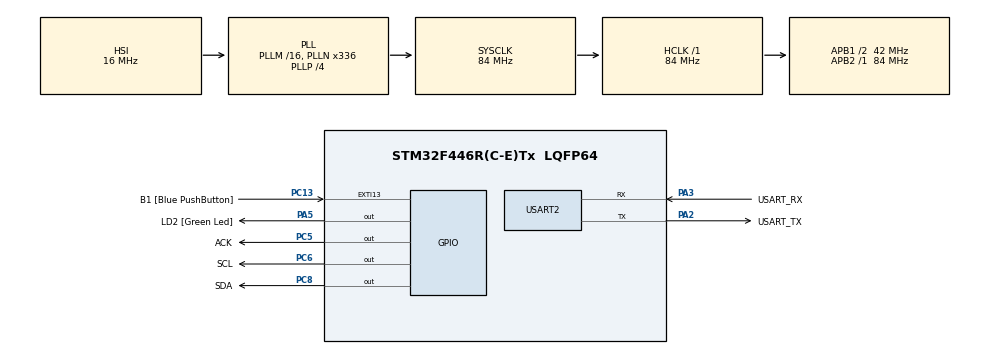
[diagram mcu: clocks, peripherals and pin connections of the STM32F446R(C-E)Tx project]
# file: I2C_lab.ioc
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Mcu.Family=STM32F4
Mcu.Name=STM32F446R(C-E)Tx
Mcu.Package=LQFP64
NVIC.PriorityGroup=NVIC_PRIORITYGROUP_0
NVIC.TIM2_IRQn=true\:0\:0\:false\:false\:true\:true\:true\:true
PA13.GPIO_Label=TMS
PA13.Mode=Serial_Wire
PA13.Signal=SYS_JTMS-SWDIO
PA14.GPIO_Label=TCK
PA14.Mode=Serial_Wire
PA14.Signal=SYS_JTCK-SWCLK
PA2.GPIO_Label=USART_TX
PA2.Mode=Asynchronous
PA2.Signal=USART2_TX
PA3.GPIO_Label=USART_RX
PA3.Mode=Asynchronous
PA3.Signal=USART2_RX
PA5.GPIO_Label=LD2 [Green Led]
PA5.Signal=GPIO_Output
PB3.GPIO_Label=SWO
PB3.Signal=SYS_JTDO-SWO
PC13.GPIO_Label=B1 [Blue PushButton]
PC13.GPIO_ModeDefaultEXTI=GPIO_MODE_IT_FALLING
PC13.Signal=GPXTI13
PC14-OSC32_IN.Mode=LSE-External-Oscillator
PC14-OSC32_IN.Signal=RCC_OSC32_IN
PC15-OSC32_OUT.Mode=LSE-External-Oscillator
PC15-OSC32_OUT.Signal=RCC_OSC32_OUT
PC5.GPIO_Label=ACK
PC5.GPIO_ModeDefaultOutputPP=GPIO_MODE_OUTPUT_OD
PC5.GPIO_PuPd=GPIO_PULLUP
PC5.GPIO_Speed=GPIO_SPEED_FREQ_MEDIUM
PC5.Signal=GPIO_Output
PC6.GPIO_Label=SCL
PC6.GPIO_ModeDefaultOutputPP=GPIO_MODE_OUTPUT_OD
PC6.GPIO_PuPd=GPIO_PULLUP
PC6.GPIO_Speed=GPIO_SPEED_FREQ_MEDIUM
PC6.Signal=GPIO_Output
PC8.GPIO_Label=SDA
PC8.GPIO_ModeDefaultOutputPP=GPIO_MODE_OUTPUT_OD
PC8.GPIO_PuPd=GPIO_PULLUP
PC8.GPIO_Speed=GPIO_SPEED_FREQ_MEDIUM
PC8.Signal=GPIO_Output
PH0-OSC_IN.Mode=HSE-External-Oscillator
PH0-OSC_IN.Signal=RCC_OSC_IN
PH1-OSC_OUT.Mode=HSE-External-Oscillator
PH1-OSC_OUT.Signal=RCC_OSC_OUT
ProjectManager.HeapSize=0x200
ProjectManager.StackSize=0x400
ProjectManager.TargetToolchain=STM32CubeIDE
RCC.48MHZClocksFreq_Value=84000000
RCC.AHBFreq_Value=84000000
RCC.APB1CLKDivider=RCC_HCLK_DIV2
RCC.APB1Freq_Value=42000000
RCC.APB1TimFreq_Value=84000000
RCC.APB2Freq_Value=84000000
RCC.APB2TimFreq_Value=84000000
RCC.CortexFreq_Value=84000000
RCC.FLatency-AdvancedSettings=FLASH_LATENCY_2
RCC.HCLKFreq_Value=84000000
RCC.HSE_VALUE=8000000
RCC.HSI_VALUE=16000000
RCC.PLLN=336
RCC.PLLP=RCC_PLLP_DIV4
RCC.SYSCLKFreq_VALUE=84000000
RCC.SYSCLKSource=RCC_SYSCLKSOURCE_PLLCLK
RCC.USBFreq_Value=168000000
RCC.VCOOutputFreq_Value=336000000
TIM2.AutoReloadPreload=TIM_AUTORELOAD_PRELOAD_ENABLE
TIM2.Period=4374
TIM2.Prescaler=0
USART2.VirtualMode=VM_ASYNC
VP_TIM2_VS_ClockSourceINT.Mode=Internal
board=NUCLEO-F446RE

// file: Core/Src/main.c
/* USER CODE BEGIN Header */
/**
  ******************************************************************************
  * @file           : main.c
  * @brief          : Main program body
  ******************************************************************************
  * @attention
  *
  * Copyright (c) 2026 STMicroelectronics.
  * All rights reserved.
  *
  * This software is licensed under terms that can be found in the LICENSE file
  * in the root directory of this software component.
  * If no LICENSE file comes with this software, it is provided AS-IS.
  *
  ******************************************************************************
  */
/* USER CODE END Header */
#include "main.h"

/* USER CODE BEGIN Includes */
#include <string.h>
#include <stdbool.h>
/* USER CODE END Includes */

/* USER CODE BEGIN PD */
#define FAKE_ADDR 0x11
/* USER CODE END PD */

TIM_HandleTypeDef htim2;

UART_HandleTypeDef huart2;

/* USER CODE BEGIN PV */
typedef enum {
	IDLE, START, BIT_CLK_LOW, BIT_CLK_HIGH, ACK_CLK_LOW, ACK_CLK_HIGH, ACK_DECISION, STOP_SCL, STOP_SDA,
} i2c_state_t;

static volatile i2c_state_t state = IDLE;
static volatile bool done, acked;
static uint8_t buf[16], message_len, message_idx, mask;
const uint8_t msg[] = {0x67, 0x0F};
/* USER CODE END PV */

void SystemClock_Config(void);
static void MX_GPIO_Init(void);
static void MX_TIM2_Init(void);
static void MX_USART2_UART_Init(void);
/* USER CODE BEGIN PFP */
static void i2c_init(void);
static bool i2c_write(uint8_t addr, const uint8_t *data, uint8_t data_len);
static inline void scl(int level) {HAL_GPIO_WritePin(GPIOC, SCL_Pin, level ? GPIO_PIN_SET : GPIO_PIN_RESET);}
static inline void sda_write(int level) {HAL_GPIO_WritePin(GPIOC, SDA_Pin, level ? GPIO_PIN_SET : GPIO_PIN_RESET);}
static inline void ack(int level) {HAL_GPIO_WritePin(GPIOC, ACK_Pin, level ? GPIO_PIN_SET : GPIO_PIN_RESET);}
static inline int sda_read(void) {return HAL_GPIO_ReadPin(GPIOC, SDA_Pin);}
/* USER CODE END PFP */

int main(void)
{

  /* MCU Configuration--------------------------------------------------------*/

  /* Reset of all peripherals, Initializes the Flash interface and the Systick. */
  HAL_Init();

  /* Configure the system clock */
  SystemClock_Config();

  /* Initialize all configured peripherals */
  MX_GPIO_Init();
  MX_TIM2_Init();
  MX_USART2_UART_Init();
  /* USER CODE BEGIN 2 */
  i2c_init();
  /* USER CODE END 2 */

  /* Infinite loop */
  while (1)
  {

    /* USER CODE BEGIN 3 */
	  i2c_write(FAKE_ADDR, msg, sizeof(msg));
	  while (!done) {}
	  HAL_Delay(100);
  }
  /* USER CODE END 3 */
}

void SystemClock_Config(void)
{
  RCC_OscInitTypeDef RCC_OscInitStruct = {0};
  RCC_ClkInitTypeDef RCC_ClkInitStruct = {0};

  /** Configure the main internal regulator output voltage
  */
  __HAL_RCC_PWR_CLK_ENABLE();
  __HAL_PWR_VOLTAGESCALING_CONFIG(PWR_REGULATOR_VOLTAGE_SCALE3);

  /** Initializes the RCC Oscillators according to the specified parameters
  * in the RCC_OscInitTypeDef structure.
  */
  RCC_OscInitStruct.OscillatorType = RCC_OSCILLATORTYPE_HSI;
  RCC_OscInitStruct.HSIState = RCC_HSI_ON;
  RCC_OscInitStruct.HSICalibrationValue = RCC_HSICALIBRATION_DEFAULT;
  RCC_OscInitStruct.PLL.PLLState = RCC_PLL_ON;
  RCC_OscInitStruct.PLL.PLLSource = RCC_PLLSOURCE_HSI;
  RCC_OscInitStruct.PLL.PLLM = 16;
  RCC_OscInitStruct.PLL.PLLN = 336;
  RCC_OscInitStruct.PLL.PLLP = RCC_PLLP_DIV4;
  RCC_OscInitStruct.PLL.PLLQ = 2;
  RCC_OscInitStruct.PLL.PLLR = 2;
  if (HAL_RCC_OscConfig(&RCC_OscInitStruct) != HAL_OK)
  {
    Error_Handler();
  }

  /** Initializes the CPU, AHB and APB buses clocks
  */
  RCC_ClkInitStruct.ClockType = RCC_CLOCKTYPE_HCLK|RCC_CLOCKTYPE_SYSCLK
                              |RCC_CLOCKTYPE_PCLK1|RCC_CLOCKTYPE_PCLK2;
  RCC_ClkInitStruct.SYSCLKSource = RCC_SYSCLKSOURCE_PLLCLK;
  RCC_ClkInitStruct.AHBCLKDivider = RCC_SYSCLK_DIV1;
  RCC_ClkInitStruct.APB1CLKDivider = RCC_HCLK_DIV2;
  RCC_ClkInitStruct.APB2CLKDivider = RCC_HCLK_DIV1;

  if (HAL_RCC_ClockConfig(&RCC_ClkInitStruct, FLASH_LATENCY_2) != HAL_OK)
  {
    Error_Handler();
  }
}

static void MX_TIM2_Init(void)
{

  TIM_ClockConfigTypeDef sClockSourceConfig = {0};
  TIM_MasterConfigTypeDef sMasterConfig = {0};

  htim2.Instance = TIM2;
  htim2.Init.Prescaler = 0;
  htim2.Init.CounterMode = TIM_COUNTERMODE_UP;
  htim2.Init.Period = 4374;
  htim2.Init.ClockDivision = TIM_CLOCKDIVISION_DIV1;
  htim2.Init.AutoReloadPreload = TIM_AUTORELOAD_PRELOAD_ENABLE;
  if (HAL_TIM_Base_Init(&htim2) != HAL_OK)
  {
    Error_Handler();
  }
  sClockSourceConfig.ClockSource = TIM_CLOCKSOURCE_INTERNAL;
  if (HAL_TIM_ConfigClockSource(&htim2, &sClockSourceConfig) != HAL_OK)
  {
    Error_Handler();
  }
  sMasterConfig.MasterOutputTrigger = TIM_TRGO_RESET;
  sMasterConfig.MasterSlaveMode = TIM_MASTERSLAVEMODE_DISABLE;
  if (HAL_TIMEx_MasterConfigSynchronization(&htim2, &sMasterConfig) != HAL_OK)
  {
    Error_Handler();
  }

}

static void MX_USART2_UART_Init(void)
{

  huart2.Instance = USART2;
  huart2.Init.BaudRate = 115200;
  huart2.Init.WordLength = UART_WORDLENGTH_8B;
  huart2.Init.StopBits = UART_STOPBITS_1;
  huart2.Init.Parity = UART_PARITY_NONE;
  huart2.Init.Mode = UART_MODE_TX_RX;
  huart2.Init.HwFlowCtl = UART_HWCONTROL_NONE;
  huart2.Init.OverSampling = UART_OVERSAMPLING_16;
  if (HAL_UART_Init(&huart2) != HAL_OK)
  {
    Error_Handler();
  }

}

static void MX_GPIO_Init(void)
{
  GPIO_InitTypeDef GPIO_InitStruct = {0};

  /* GPIO Ports Clock Enable */
  __HAL_RCC_GPIOC_CLK_ENABLE();
  __HAL_RCC_GPIOH_CLK_ENABLE();
  __HAL_RCC_GPIOA_CLK_ENABLE();
  __HAL_RCC_GPIOB_CLK_ENABLE();

  /*Configure GPIO pin Output Level */
  HAL_GPIO_WritePin(LD2_GPIO_Port, LD2_Pin, GPIO_PIN_RESET);

  /*Configure GPIO pin Output Level */
  HAL_GPIO_WritePin(GPIOC, ACK_Pin|SCL_Pin|SDA_Pin, GPIO_PIN_RESET);

  /*Configure GPIO pin : B1_Pin */
  GPIO_InitStruct.Pin = B1_Pin;
  GPIO_InitStruct.Mode = GPIO_MODE_IT_FALLING;
  GPIO_InitStruct.Pull = GPIO_NOPULL;
  HAL_GPIO_Init(B1_GPIO_Port, &GPIO_InitStruct);

  /*Configure GPIO pin : LD2_Pin */
  GPIO_InitStruct.Pin = LD2_Pin;
  GPIO_InitStruct.Mode = GPIO_MODE_OUTPUT_PP;
  GPIO_InitStruct.Pull = GPIO_NOPULL;
  GPIO_InitStruct.Speed = GPIO_SPEED_FREQ_LOW;
  HAL_GPIO_Init(LD2_GPIO_Port, &GPIO_InitStruct);

  /*Configure GPIO pins : ACK_Pin SCL_Pin SDA_Pin */
  GPIO_InitStruct.Pin = ACK_Pin|SCL_Pin|SDA_Pin;
  GPIO_InitStruct.Mode = GPIO_MODE_OUTPUT_OD;
  GPIO_InitStruct.Pull = GPIO_PULLUP;
  GPIO_InitStruct.Speed = GPIO_SPEED_FREQ_MEDIUM;
  HAL_GPIO_Init(GPIOC, &GPIO_InitStruct);

}

/* USER CODE BEGIN 4 */

static void i2c_init(void) {
	// Release all lines
	scl(1);
	sda_write(1);
	ack(1);
}

static bool i2c_write(uint8_t addr, const uint8_t *data, uint8_t data_len) {
	if (state != IDLE || data_len > sizeof(buf) - 1) return false; // Only do the write if not busy and buf is big enough
	buf[0] = addr << 1; // First byte is 7 bit addr then R/W bit, in this case 0
	memcpy(&buf[1], data, data_len); // Copy n bytes from data to the buffer
	message_len = data_len + 1;
	done = false;
	acked = true;
	state = START;
	__HAL_TIM_SET_COUNTER(&htim2, 0); // reset counter from last message
	HAL_TIM_Base_Start_IT(&htim2);
	return true;
}

void HAL_TIM_PeriodElapsedCallback(TIM_HandleTypeDef* htim)
{
	switch (state) {
	case IDLE:
		break;
	case START:
		sda_write(0); // Pull SDA low while SCL is high to start
		message_idx = 0;
		mask = 0b10000000;
		state = BIT_CLK_LOW;
		break;
	case BIT_CLK_LOW:
		scl(0);
		sda_write(buf[message_idx] & mask);
		state = BIT_CLK_HIGH;
		break;
	case BIT_CLK_HIGH:
		scl(1);
		mask >>= 1; // Go to next bit
		state = mask ? BIT_CLK_LOW : ACK_CLK_LOW; // if last bit was sent, go to ack
		break;
	case ACK_CLK_LOW:
		scl(0);
		sda_write(1); // Let go of SDA let "peripheral" ack
		ack(0); // Always ack
		state = ACK_CLK_HIGH;
		break;
	case ACK_CLK_HIGH:
		scl(1);
		state = ACK_DECISION;
		break;
	case ACK_DECISION: {
		// Technically we sample this on the rising edge in the previous state but I need the info here
		// So that's why it's before scl(0); here
		bool ack_flag = (sda_read() == GPIO_PIN_RESET);
		scl(0);
		if(ack_flag && (message_idx+1) < message_len) {
			message_idx++;
			mask = 0b10000000;
			// We need to continue writing the message here as if it was BIT)CLK_LOW
			sda_write(buf[message_idx] & mask);
			state = BIT_CLK_HIGH;
		} else {
			acked = ack_flag;
			sda_write(0);
			state = STOP_SCL;
		}
		ack(1); // Only release this after to prevent glitches
		break;
	}

	case STOP_SCL:
		scl(1);
		state = STOP_SDA;
		break;
	case STOP_SDA:
		sda_write(1);
		HAL_TIM_Base_Stop_IT(&htim2);
		state = IDLE;
		done = true;
		break;
	}
}

/* USER CODE END 4 */

void Error_Handler(void)
{
  __disable_irq();
  while (1)
  {
  }
}
